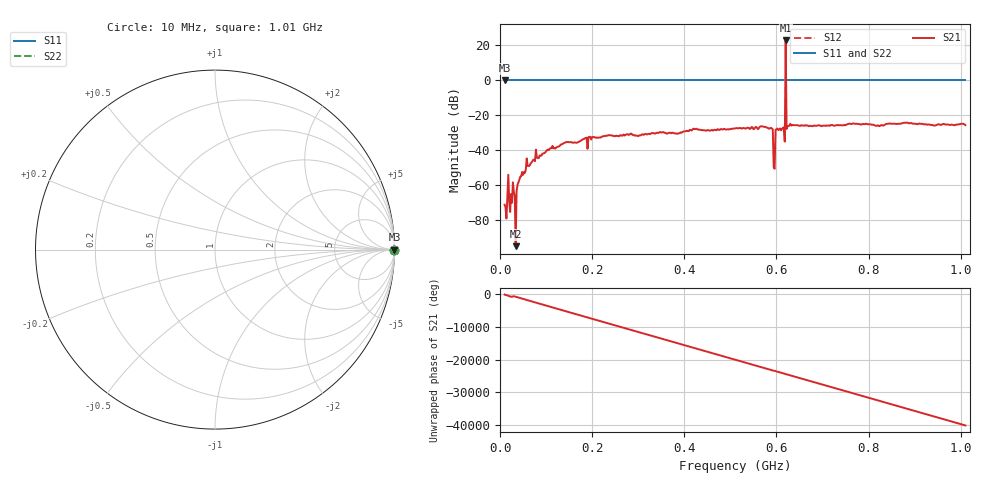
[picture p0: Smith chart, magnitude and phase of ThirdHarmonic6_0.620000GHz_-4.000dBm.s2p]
! 8/15/2025 8:22:23 PM
! C:\ANRITSUVNA\TEMP\TEMP.S2P
! CHANNEL.1
! TR.MEASUREMENT
! RAW.DATA
! RF.CORRECTION.OFF
! AVERAGING.OFF
! IF.BANDWIDTH: 5KHZ
! SWEEPTYPE:  FREQ.SWEEP(Linear)
! Reference Plane Port Info
! PORT:  PORT1  PORT2
! DISTANCE:  0  m  0  m
! TIME:  0  s  0  s
! PHASE.OFFSET:  0  deg.  0  deg.
! LOSS:  0  dB  0  dB
! REF.LOSS:  0  dB  0  dB
! REF.FREQ:  0  Hz  0  Hz
! Power Info
! POWER:  -20  dBm  -20  dBm
! EFF.POWER:  -20  dBm  -20  dBm
! SOURCE.ATTEN:  0  dB  0  dB
! TEST.ATTEN:  0  dB  0  dB
# GHZ S RI R 50.0
! FREQ.GHZ  S11RE  S11IM  S21RE  S21IM  S12RE  S12IM  S22RE  S22IM
!; PortSelection: Port_12
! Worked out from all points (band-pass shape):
!   501 points, 10 MHz to 1.01 GHz, reference 50 ohm
!   highest |S21| = 22.72 dB at 620 MHz (marker M1); lowest = -94.9 dB at 34 MHz (marker M2)
!   |S21| within 3 dB of the highest: 619.8963 MHz to 620.1185 MHz (222.2 kHz wide, 0.0358 % of centre)
!   lowest |S11| = 0.0 dB at 10 MHz (marker M3)
!   |S11| at or under -10 dB: nowhere
!   |S22| runs from 0.0 to 0.0 dB; largest |S21 - S12| = 13
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0.01  1 0  -0.000166 -0.00022  1 0  1 0
0.02  1 0  0.000199 0.000299  1 0  1 0
0.034  1 0  6.5e-06 -1.67e-05  1 0  1 0
0.044  1 0  -0.00119 -0.00126  1 0  1 0
0.076  1 0  0.00482 0.00012  1 0  1 0
0.142  1 0  -0.0154 -0.00597  1 0  1 0
0.178  1 0  -0.0191 -0.00424  1 0  1 0
0.344  1 0  0.0298 -0.00838  1 0  1 0
0.51  1 0  -0.0376 0.0176  1 0  1 0
0.588  1 0  -0.0109 -0.0421  1 0  1 0
0.592  1 0  -0.0041 0.0391  1 0  1 0
0.596  1 0  0.00248 -0.00157  1 0  1 0
0.598  1 0  -0.0288 -0.0247  1 0  1 0
0.602  1 0  0.0215 0.0353  1 0  1 0
0.614  1 0  0.0223 -0.037  1 0  1 0
0.616  1 0  -0.034 -0.0295  1 0  1 0
0.62  1 0  13.55 -1.873  1 0  1 0
0.624  1 0  -0.0115 -0.0464  1 0  1 0
0.626  1 0  -0.0487 0.00327  1 0  1 0
0.678  1 0  -0.0274 -0.0397  1 0  1 0
0.844  1 0  0.0457 0.0342  1 0  1 0
1.01  1 0  -0.0518 -0.00201  1 0  1 0
